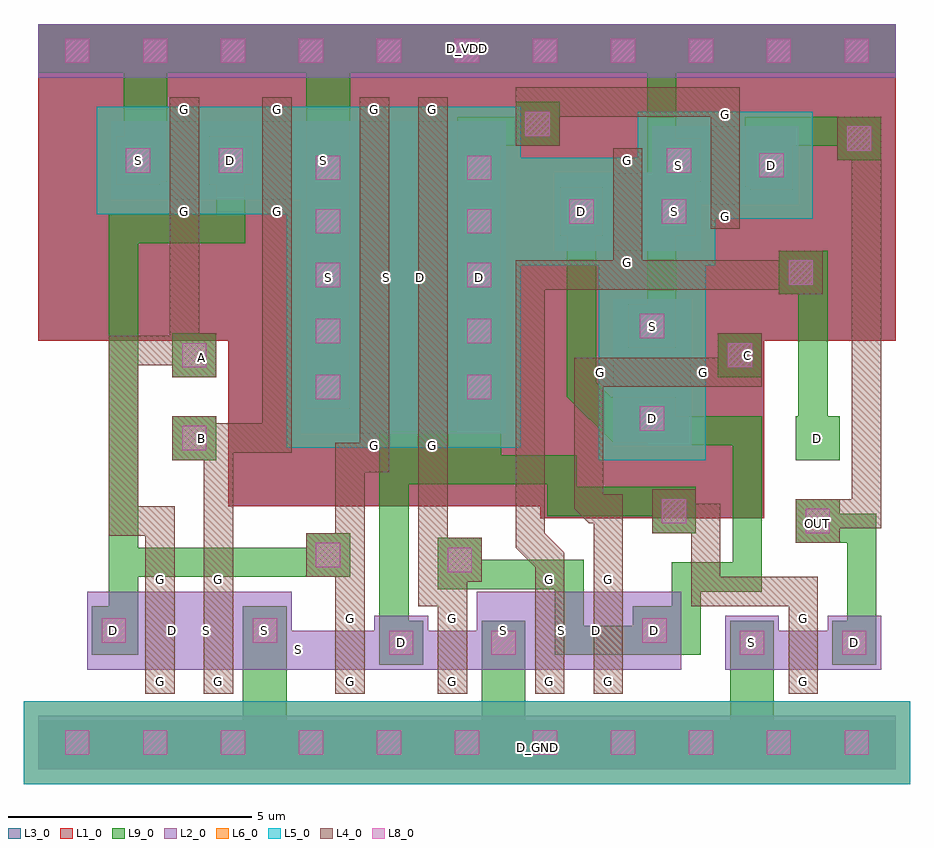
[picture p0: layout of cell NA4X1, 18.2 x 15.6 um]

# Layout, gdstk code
import gdstk
lib = gdstk.Library(unit=1e-6, precision=1e-09)
def R(c, l, rs):  # rectangles x0, y0, x1, y1
    for r in rs: c.add(gdstk.rectangle(r[:2], r[2:], *l))
def A(c, l, x, y, w, h, nx, ny, dx, dy):  # array of equal rectangles
    R(c, l, [(x+i*dx, y+j*dy, x+i*dx+w, y+j*dy+h) for i in range(nx) for j in range(ny)])
def P(c, l, *ps):  # polygons
    for p in ps: c.add(gdstk.Polygon(p, *l))
L1_0 = (1, 0)
L2_0 = (2, 0)
L3_0 = (3, 0)
L4_0 = (4, 0)
L5_0 = (5, 0)
L6_0 = (6, 0)
L8_0 = (8, 0)
L9_0 = (9, 0)

na4x1 = lib.new_cell('NA4X1')
A(na4x1, L1_0, -0.15, 8.8, 1.6, 6.5, 11, 1, 1.6, 0)
R(na4x1, L1_0, [(10.15,5.15,14.75,11.15), (3.75,5.4,9.75,14.8), (4.95,5.4,10.95,14.8), (8.95,9.15,14.95,13.75), (10.95,10.1,16.95,14.7), (-0.15,10.2,5.85,14.8), (1.75,10.2,7.75,14.8)])
A(na4x1, L2_0, -0.15, 0, 1.6, 1.1, 11, 2, 1.6, 14.2)
R(na4x1, L2_0, [(0.85,2.05,1.95,3.65), (1.95,2.05,2.75,3.65), (2.05,2.05,3.15,3.65), (2.75,2.05,3.85,3.65), (3.15,2.05,3.95,3.65), (3.95,2.05,5.05,3.65), (4.65,2.05,5.75,2.85), (5.75,2.05,6.75,2.85), (6.75,2.05,7.85,3.15), (6.75,2.05,7.85,3.15), (7.85,2.05,8.85,2.85), (8.85,2.05,9.95,3.15), (8.85,2.05,9.95,3.65), (9.95,2.05,10.75,3.65), (10.05,2.05,11.15,3.65), (10.75,2.05,11.85,3.65), (11.15,2.05,11.95,3.65), (11.95,2.05,13.05,3.65), (13.95,2.05,15.05,3.15), (15.05,2.05,16.05,2.85), (16.05,2.05,17.15,3.15), (11.65,6.65,13.25,7.75), (5.25,6.9,6.35,13.3), (6.35,6.9,7.15,13.3), (6.45,6.9,7.55,13.3), (7.15,6.9,8.25,13.3), (7.55,6.9,8.35,13.3), (8.35,6.9,9.45,13.3), (11.65,7.75,13.25,8.55), (11.65,8.55,13.25,9.65), (10.45,10.65,11.55,12.25), (11.55,10.65,12.35,12.25), (12.35,10.65,13.45,12.25), (12.45,11.6,13.55,13.2), (13.55,11.6,14.35,13.2), (14.35,11.6,15.45,13.2), (1.35,11.7,2.45,13.3), (2.45,11.7,3.25,13.3), (3.25,11.7,4.35,13.3), (3.25,11.7,4.35,13.3), (4.35,11.7,5.15,13.3), (5.15,11.7,6.25,13.3), (12.45,11.95,13.55,13.05)])
A(na4x1, L3_0, -0.15, 8.8, 1.6, 6.5, 11, 1, 1.6, 0)
R(na4x1, L3_0, [(10.15,5.15,14.75,11.15), (3.75,5.4,9.75,14.8), (4.95,5.4,10.95,14.8), (8.95,9.15,14.95,13.75), (10.95,10.1,16.95,14.7), (-0.15,10.2,5.85,14.8), (1.75,10.2,7.75,14.8)])
R(na4x1, L4_0, [(2.05,1.55,2.65,2.05), (2.05,1.55,2.65,4.15), (3.25,1.55,3.85,2.05), (3.25,1.55,3.85,4.15), (5.95,1.55,6.55,2.05), (5.95,1.55,6.55,3.35), (8.05,1.55,8.65,2.05), (8.05,1.55,8.65,3.35), (10.05,1.55,10.65,2.05), (10.05,1.55,10.65,4.15), (11.25,1.55,11.85,2.05), (11.25,1.55,11.85,4.15), (15.25,1.55,15.85,2.05), (15.25,1.55,15.85,3.35), (5.95,2.85,6.55,3.35), (8.05,2.85,8.65,3.35), (15.25,2.85,15.85,3.35), (2.05,3.65,2.65,4.15), (3.25,3.65,3.85,4.15), (10.05,3.65,10.65,4.15), (11.25,3.65,11.85,4.15), (8.05,3.85,8.95,4.75), (5.35,3.95,6.25,4.85), (15.4,4.65,16.3,5.55), (12.45,4.85,13.35,5.75), (2.6,6.35,3.5,7.25), (6.45,6.4,7.05,13.8), (6.45,6.4,7.05,6.9), (7.65,6.4,8.25,13.8), (7.65,6.4,8.25,6.9), (11.15,7.85,13.75,8.45), (11.15,7.85,11.65,8.45), (13,7.85,14.7,8.45), (13.25,7.85,13.75,8.45), (2.6,8.05,3.5,8.95), (13.8,8.05,14.7,8.95), (15.05,9.75,15.95,10.65), (11.6,9.85,15.95,10.45), (11.65,10.15,12.25,10.65), (11.65,10.15,12.25,12.75), (13.65,11.1,14.25,11.6), (13.65,11.1,14.25,13.7), (2.55,11.2,3.15,11.7), (2.55,11.2,3.15,13.8), (4.45,11.2,5.05,11.7), (4.45,11.2,5.05,13.8), (11.65,12.25,12.25,12.75), (16.25,12.5,17.15,13.4), (9.65,12.8,10.55,13.7), (9.65,12.9,10.25,14), (13.65,13.2,14.25,13.7), (2.55,13.3,3.15,13.8), (4.45,13.3,5.05,13.8), (6.45,13.3,7.05,13.8), (7.65,13.3,8.25,13.8)])
P(na4x1, L4_0, [(1.3,4.8),(2.05,4.8),(2.05,1.55),(2.65,1.55),(2.65,5.4),(1.9,5.4),(1.9,8.3),(3.15,8.3),(3.15,13.8),(2.55,13.8),(2.55,8.9),(1.3,8.9)],
  [(5.95,1.55),(6.55,1.55),(6.55,6.1),(7.05,6.1),(7.05,13.8),(6.45,13.8),(6.45,6.7),(5.95,6.7)],
  [(12.45,4.85),(13.25,4.85),(13.25,3.35),(15.25,3.35),(15.25,1.55),(15.85,1.55),(15.85,3.95),(13.85,3.95),(13.85,5.45),(12.45,5.45)],
  [(3.25,1.75),(3.85,1.75),(3.85,6.5),(5.05,6.5),(5.05,13.8),(4.45,13.8),(4.45,7.1),(3.25,7.1)],
  [(9.65,13.4),(13.65,13.4),(13.65,12.4),(14.25,12.4),(14.25,14),(9.65,14)],
  [(7.65,3.35),(8.05,3.35),(8.05,1.55),(8.65,1.55),(8.65,3.95),(8.25,3.95),(8.25,13.8),(7.65,13.8)],
  [(9.65,4.55),(10.05,4.15),(10.05,1.55),(10.65,1.55),(10.65,4.45),(10.25,4.85),(10.25,9.85),(12.25,9.85),(12.25,12.7),(11.65,12.7),(11.65,10.45),(9.65,10.45)],
  [(15.4,4.95),(17.15,4.95),(17.15,13.4),(16.55,13.4),(16.55,5.55),(15.4,5.55)],
  [(10.85,5.35),(11.15,5.05),(11.25,5.05),(11.25,1.55),(11.85,1.55),(11.85,5.65),(11.45,5.65),(11.45,8.45),(10.85,8.45)])
A(na4x1, L5_0, 1.45, -0.3, 1.6, 1.7, 9, 1, 1.6, 0)
R(na4x1, L5_0, [(-0.45,-0.3,1.45,1.4), (15.85,-0.3,17.75,1.4), (11.35,6.35,13.55,9.95), (4.95,6.6,8.55,13.6), (6.15,6.6,9.75,13.6), (11.35,9.65,13.55,10.6), (9.55,10.35,10.4,12.55), (10.15,10.35,13.75,12.55), (12.15,11.3,15.75,13.5), (1.05,11.4,4.65,13.6), (2.95,11.4,6.55,13.6)])
A(na4x1, L6_0, 1.45, -0.3, 1.6, 1.7, 9, 1, 1.6, 0)
R(na4x1, L6_0, [(-0.45,-0.3,1.45,1.4), (15.85,-0.3,17.75,1.4), (11.35,6.35,13.55,9.95), (4.95,6.6,8.55,13.6), (6.15,6.6,9.75,13.6), (11.35,9.65,13.55,10.6), (9.55,10.35,10.4,12.55), (10.15,10.35,13.75,12.55), (12.15,11.3,15.75,13.5), (1.05,11.4,4.65,13.6), (2.95,11.4,6.55,13.6)])
A(na4x1, L8_0, 0.4, 0.3, 0.5, 0.5, 11, 2, 1.6, 14.2)
A(na4x1, L8_0, 5.55, 7.6, 0.5, 0.5, 1, 3, 0, 1.15)
A(na4x1, L8_0, 8.65, 7.6, 0.5, 0.5, 1, 3, 0, 1.15)
R(na4x1, L8_0, [(7.05,2.35,7.55,2.85), (7.05,2.35,7.55,2.85), (9.15,2.35,9.65,2.85), (14.25,2.35,14.75,2.85), (16.35,2.35,16.85,2.85), (1.15,2.6,1.65,3.1), (4.25,2.6,4.75,3.1), (12.25,2.6,12.75,3.1), (8.25,4.05,8.75,4.55), (5.55,4.15,6.05,4.65), (15.6,4.85,16.1,5.35), (12.65,5.05,13.15,5.55), (2.8,6.55,3.3,7.05), (12.2,6.95,12.7,7.45), (2.8,8.25,3.3,8.75), (14,8.25,14.5,8.75), (12.2,8.85,12.7,9.35), (15.25,9.95,15.75,10.45), (5.55,11,6.05,11.5), (8.65,11,9.15,11.5), (10.75,11.2,11.25,11.7), (12.65,11.2,13.15,11.7), (5.55,12.1,6.05,12.6), (8.65,12.1,9.15,12.6), (14.65,12.15,15.15,12.65), (1.65,12.25,2.15,12.75), (3.55,12.25,4.05,12.75), (3.55,12.25,4.05,12.75), (12.75,12.25,13.25,12.75), (16.45,12.7,16.95,13.2), (9.85,13,10.35,13.5)])
A(na4x1, L9_0, -0.15, 0, 1.6, 1, 11, 2, 1.6, 14.3)
R(na4x1, L9_0, [(0.35,0.05,17.25,0.95), (4.05,0.1,4.95,3.1), (8.95,0.1,9.85,3.05), (9.8,0.15,10.4,0.75), (6.85,2.15,7.75,3.05), (6.85,2.15,7.75,3.05), (8.95,2.15,9.85,3.05), (14.05,2.15,14.95,3.05), (16.15,2.15,17.05,3.05), (0.95,2.35,1.85,3.35), (4.05,2.35,4.95,3.35), (12.05,2.35,12.95,3.35), (8.05,3.85,8.95,4.75), (1.6,3.95,6.25,4.55), (5.35,3.95,6.25,4.85), (15.4,4.65,16.3,5.55), (15.55,4.75,16.15,5.35), (12.45,4.85,13.35,5.75), (2.6,6.35,3.5,7.25), (15.4,6.35,16.3,7.25), (2.9,6.5,3.5,7.1), (15.45,6.5,16.05,10.65), (15.55,6.5,16.15,7.1), (8.45,6.65,9.35,7.55), (11.95,6.75,12.95,7.65), (11.4,7.15,12.1,7.65), (5.35,7.4,6.25,12.8), (5.35,7.4,6.25,15.3), (8.45,7.4,9.35,12.8), (2.6,8.05,3.5,8.95), (13.8,8.05,14.7,8.95), (10.7,8.1,11.3,11.9), (2.9,8.15,3.5,8.75), (14.1,8.2,14.7,8.8), (11.95,8.65,12.95,9.55), (12.35,8.7,12.95,15.1), (15.05,9.75,15.95,10.65), (10.55,10.95,11.45,11.95), (12.45,10.95,13.35,11.95), (14.45,11.9,15.35,12.9), (12.95,11.95,13.35,12.1), (1.45,12,2.35,13), (3.35,12,4.25,13), (3.35,12,4.25,13), (1.6,12.05,2.5,15.25), (12.55,12.05,13.45,12.95), (16.25,12.5,17.15,13.4), (9.65,12.8,10.55,13.7), (1.6,14.35,16.75,15.25), (8.35,14.5,8.95,15.1)])
P(na4x1, L9_0, [(15.4,4.65),(16.45,4.65),(16.45,2.15),(17.05,2.15),(17.05,5.25),(15.4,5.25)],
  [(14.35,11.95),(14.95,11.95),(14.95,12.8),(17.15,12.8),(17.15,13.4),(14.35,13.4)],
  [(7,5.85),(10.3,5.85),(10.3,5.2),(13.35,5.2),(13.35,5.8),(10.9,5.8),(10.9,6.45),(7,6.45)],
  [(8.45,12.45),(9.05,12.45),(9.05,12.8),(10.55,12.8),(10.55,13.4),(8.45,13.4)],
  [(8.05,3.7),(10.45,3.7),(10.45,2.35),(12.95,2.35),(12.95,2.95),(11.05,2.95),(11.05,4.3),(8.05,4.3)],
  [(6.85,2.15),(7.45,2.15),(7.45,6.35),(9.35,6.35),(9.35,12.7),(8.75,12.7),(8.75,6.95),(6.85,6.95)],
  [(1.3,2.35),(1.9,2.35),(1.9,10.8),(4.1,10.8),(4.1,13),(3.5,13),(3.5,11.4),(1.3,11.4)],
  [(12.35,6.65),(14.1,6.65),(14.1,4.25),(12.85,4.25),(12.85,2.35),(13.45,2.35),(13.45,3.65),(14.7,3.65),(14.7,7.25),(12.95,7.25),(12.95,7.35),(12.35,7.35)],
  [(10.7,7.65),(11.65,6.7),(12.95,6.7),(12.95,7.3),(11.95,7.3),(11.3,7.95),(11.3,8.75),(10.7,8.75)],
  [(13.35,0.1),(14.95,0.1),(14.95,3.05),(14.05,3.05),(14.05,1),(13.35,1)])
na4x1.add(gdstk.Label('G', (6.75,6.652), layer=4, texttype=0))
na4x1.add(gdstk.Label('G', (6.75,13.552), layer=4, texttype=0))
na4x1.add(gdstk.Label('S', (5.799,10.101), layer=9, texttype=0))
na4x1.add(gdstk.Label('D', (7.699,10.101), layer=2, texttype=0))
na4x1.add(gdstk.Label('G', (2.85,11.452), layer=4, texttype=0))
na4x1.add(gdstk.Label('G', (2.85,13.552), layer=4, texttype=0))
na4x1.add(gdstk.Label('S', (1.899,12.501), layer=9, texttype=0))
na4x1.add(gdstk.Label('D', (3.799,12.501), layer=9, texttype=0))
na4x1.add(gdstk.Label('G', (4.75,11.452), layer=4, texttype=0))
na4x1.add(gdstk.Label('G', (4.75,13.552), layer=4, texttype=0))
na4x1.add(gdstk.Label('S', (5.701,12.501), layer=2, texttype=0))
na4x1.add(gdstk.Label('D', (3.801,12.501), layer=9, texttype=0))
na4x1.add(gdstk.Label('G', (13.498,8.15), layer=4, texttype=0))
na4x1.add(gdstk.Label('G', (11.398,8.15), layer=4, texttype=0))
na4x1.add(gdstk.Label('S', (12.449,9.101), layer=9, texttype=0))
na4x1.add(gdstk.Label('D', (12.449,7.201), layer=9, texttype=0))
na4x1.add(gdstk.Label('G', (11.95,10.402), layer=4, texttype=0))
na4x1.add(gdstk.Label('G', (11.95,12.502), layer=4, texttype=0))
na4x1.add(gdstk.Label('S', (12.901,11.451), layer=9, texttype=0))
na4x1.add(gdstk.Label('D', (11.001,11.451), layer=9, texttype=0))
na4x1.add(gdstk.Label('G', (13.95,11.352), layer=4, texttype=0))
na4x1.add(gdstk.Label('G', (13.95,13.452), layer=4, texttype=0))
na4x1.add(gdstk.Label('S', (12.999,12.401), layer=2, texttype=0))
na4x1.add(gdstk.Label('D', (14.899,12.401), layer=9, texttype=0))
na4x1.add(gdstk.Label('G', (7.95,6.652), layer=4, texttype=0))
na4x1.add(gdstk.Label('G', (7.95,13.552), layer=4, texttype=0))
na4x1.add(gdstk.Label('S', (6.999,10.101), layer=2, texttype=0))
na4x1.add(gdstk.Label('D', (8.899,10.101), layer=9, texttype=0))
na4x1.add(gdstk.Label('G', (2.35,1.802), layer=4, texttype=0))
na4x1.add(gdstk.Label('G', (2.35,3.902), layer=4, texttype=0))
na4x1.add(gdstk.Label('S', (3.301,2.851), layer=2, texttype=0))
na4x1.add(gdstk.Label('D', (1.401,2.851), layer=9, texttype=0))
na4x1.add(gdstk.Label('G', (11.55,1.802), layer=4, texttype=0))
na4x1.add(gdstk.Label('G', (11.55,3.902), layer=4, texttype=0))
na4x1.add(gdstk.Label('S', (10.599,2.851), layer=2, texttype=0))
na4x1.add(gdstk.Label('D', (12.499,2.851), layer=9, texttype=0))
na4x1.add(gdstk.Label('G', (15.55,1.802), layer=4, texttype=0))
na4x1.add(gdstk.Label('G', (15.55,3.102), layer=4, texttype=0))
na4x1.add(gdstk.Label('S', (14.499,2.601), layer=9, texttype=0))
na4x1.add(gdstk.Label('D', (16.599,2.601), layer=9, texttype=0))
na4x1.add(gdstk.Label('D', (2.601,2.851), layer=2, texttype=0))
na4x1.add(gdstk.Label('G', (3.55,1.802), layer=4, texttype=0))
na4x1.add(gdstk.Label('G', (3.55,3.902), layer=4, texttype=0))
na4x1.add(gdstk.Label('S', (4.501,2.851), layer=9, texttype=0))
na4x1.add(gdstk.Label('D', (11.299,2.851), layer=2, texttype=0))
na4x1.add(gdstk.Label('G', (10.35,1.802), layer=4, texttype=0))
na4x1.add(gdstk.Label('G', (10.35,3.902), layer=4, texttype=0))
na4x1.add(gdstk.Label('S', (9.399,2.851), layer=2, texttype=0))
na4x1.add(gdstk.Label('G', (6.25,1.802), layer=4, texttype=0))
na4x1.add(gdstk.Label('G', (6.25,3.102), layer=4, texttype=0))
na4x1.add(gdstk.Label('S', (5.199,2.451), layer=2, texttype=0))
na4x1.add(gdstk.Label('D', (7.299,2.601), layer=9, texttype=0))
na4x1.add(gdstk.Label('G', (8.35,1.802), layer=4, texttype=0))
na4x1.add(gdstk.Label('G', (8.35,3.102), layer=4, texttype=0))
na4x1.add(gdstk.Label('S', (9.401,2.601), layer=9, texttype=0))
na4x1.add(gdstk.Label('D', (7.301,2.601), layer=9, texttype=0))
na4x1.add(gdstk.Label('D_GND', (10.1,0.45), layer=50, texttype=0))
na4x1.add(gdstk.Label('D_VDD', (8.65,14.8), layer=50, texttype=0))
na4x1.add(gdstk.Label('A', (3.2,8.45), layer=50, texttype=0))
na4x1.add(gdstk.Label('B', (3.2,6.8), layer=50, texttype=0))
na4x1.add(gdstk.Label('C', (14.4,8.5), layer=50, texttype=0))
na4x1.add(gdstk.Label('D', (15.85,6.8), layer=50, texttype=0))
na4x1.add(gdstk.Label('OUT', (15.85,5.05), layer=50, texttype=0))

lib.write_gds('NA4X1.gds')
